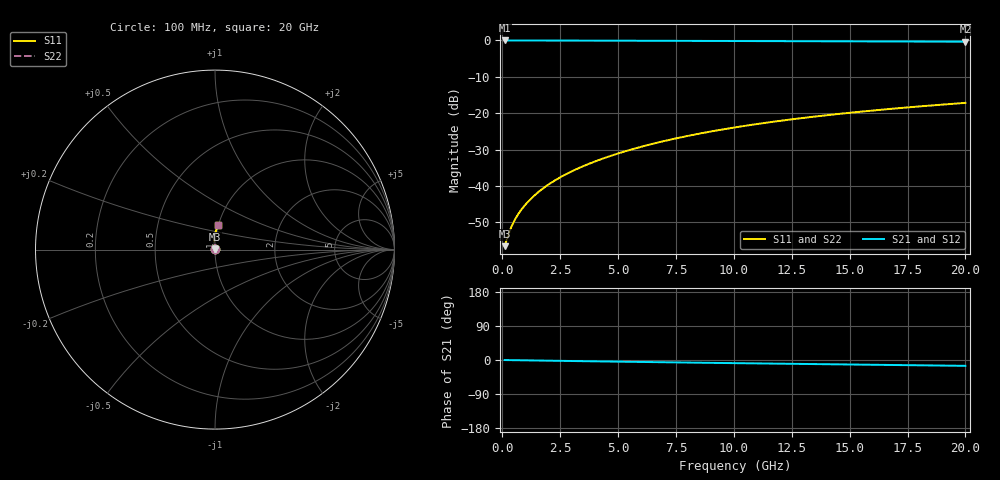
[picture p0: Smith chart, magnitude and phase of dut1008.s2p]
! Touchstone file exported from HFSS 2024.1.0
!  File:  C:/UserFiles/LocalFiles/RDL_TSV_Batchsim/temp_RDL_top_1008_1780042691.aedt
!  Generated:  04:20:55 PM May 29, 2026
!  Design:  RDL_top
!  Project:  temp_RDL_top_1008_1780042691
!  Setup:  Setup1
!  Solution:  Sweep
! Variables:
!  dtsv = 10.80580581um
!  hbump = 3um
!  htsv = 85.24um
!  ldown = 100um
!  lrdl = 212.29um
!  p = 40
!  p1 = 45.24um
!  rhole = 1um
!  t = 450um
!  tdown = 3.915915916um
!  trdl = 2.69um
!  wdown = 15.38538539um
!  wrdl = 27.57um
# GHz S MA R 50.000000
! Terminal data exported
! Port[1] = Box2_T1
! Port[2] = Box2_T2
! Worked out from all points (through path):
!   200 points, 100 MHz to 20 GHz, reference 50 ohm
!   highest |S21| = -0.01 dB at 100 MHz (marker M1); lowest = -0.4 dB at 20 GHz (marker M2)
!   group delay of S21, straight-line fit = 2.11 ps
!   lowest |S11| = -56.5 dB at 100 MHz (marker M3), VSWR 1.00, Z = 50.1 + j0.0621 ohm
!   |S11| at or under -10 dB: start of sweep to end of sweep
!   |S22| runs from -56.5 to -17.2 dB; largest |S21 - S12| = 3.3e-15
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0.1  0.001488 24.6  0.9986 -0.1  0.9986 -0.1  0.001488 24.6
! Gamma 0 0 0 0
! Port Impedance 50 0 50 0
0.3  0.002309 50.4  0.9985 -0.3  0.9985 -0.3  0.002308 50.4
0.4  0.002774 56.4  0.9984 -0.4  0.9984 -0.4  0.002774 56.4
0.5  0.003237 60.8  0.9983 -0.5  0.9983 -0.5  0.003237 60.8
0.6  0.003698 64.1  0.9982 -0.6  0.9982 -0.6  0.003697 64.1
0.8  0.004618 69.2  0.998 -0.7  0.998 -0.7  0.004617 69.2
1  0.00555 73.0  0.9979 -0.9  0.9979 -0.9  0.005549 73.0
1.2  0.0065 76.0  0.9977 -1.1  0.9977 -1.1  0.0065 76.0
1.7  0.00896 81.3  0.9972 -1.6  0.9972 -1.6  0.00896 81.3
2.2  0.01153 84.8  0.9966 -2.0  0.9966 -2.0  0.01153 84.8
2.8  0.01477 87.6  0.9958 -2.5  0.9958 -2.5  0.01477 87.6
3.5  0.01874 89.9  0.9946 -3.1  0.9946 -3.1  0.01874 89.9
4.2  0.02292 91.5  0.9932 -3.7  0.9932 -3.7  0.02292 91.5
5  0.02795 92.6  0.9915 -4.4  0.9915 -4.4  0.02795 92.6
5.9  0.03389 93.3  0.9894 -5.1  0.9894 -5.1  0.03389 93.3
6.8  0.04009 93.5  0.9873 -5.9  0.9873 -5.9  0.04009 93.5
8.4  0.05157 93.1  0.9835 -7.1  0.9835 -7.1  0.05157 93.1
10.1  0.0642 92.1  0.9796 -8.4  0.9796 -8.4  0.0642 92.1
11.7  0.07628 90.7  0.9761 -9.5  0.9761 -9.5  0.07628 90.7
13.4  0.08918 89.2  0.9726 -10.8  0.9726 -10.8  0.08919 89.2
16.7  0.1141 86.0  0.9662 -13.1  0.9662 -13.1  0.1141 86.0
20  0.1385 82.8  0.9602 -15.4  0.9602 -15.4  0.1386 82.8
